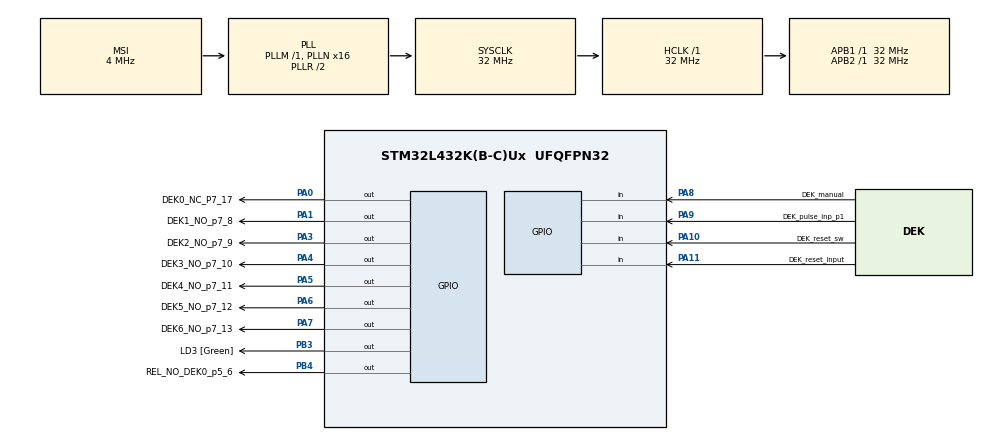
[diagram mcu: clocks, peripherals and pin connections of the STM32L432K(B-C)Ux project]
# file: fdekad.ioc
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FREERTOS.Tasks01=fdekadTask,0,512,StartDefaultTask,Default,NULL,Dynamic,NULL,NULL
FREERTOS.configCHECK_FOR_STACK_OVERFLOW=1
FREERTOS.configTOTAL_HEAP_SIZE=5000
Mcu.Family=STM32L4
Mcu.Name=STM32L432K(B-C)Ux
Mcu.Package=UFQFPN32
NVIC.PriorityGroup=NVIC_PRIORITYGROUP_4
NVIC.TIM6_DAC_IRQn=true\:0\:0\:false\:false\:true\:false\:false\:true
NVIC.TimeBase=TIM6_DAC_IRQn
NVIC.TimeBaseIP=TIM6
PA0.GPIO_Label=DEK0_NC_P7_17
PA0.GPIO_ModeDefaultOutputPP=GPIO_MODE_OUTPUT_PP
PA0.Signal=GPIO_Output
PA1.GPIO_Label=DEK1_NO_p7_8
PA1.GPIO_ModeDefaultOutputPP=GPIO_MODE_OUTPUT_PP
PA1.Signal=GPIO_Output
PA10.GPIO_Label=DEK_reset_sw
PA10.GPIO_PuPd=GPIO_PULLUP
PA10.Signal=GPIO_Input
PA11.GPIO_Label=DEK_reset_input
PA11.Signal=GPIO_Input
PA13\ (JTMS-SWDIO).GPIO_Label=SWDIO
PA13\ (JTMS-SWDIO).Mode=Serial_Wire
PA13\ (JTMS-SWDIO).Signal=SYS_JTMS-SWDIO
PA14\ (JTCK-SWCLK).GPIO_Label=SWCLK
PA14\ (JTCK-SWCLK).Mode=Serial_Wire
PA14\ (JTCK-SWCLK).Signal=SYS_JTCK-SWCLK
PA15\ (JTDI).GPIO_Label=VCP_RX
PA15\ (JTDI).Signal=USART2_RX
PA2.GPIO_Label=VCP_TX
PA2.Signal=USART2_TX
PA3.GPIO_Label=DEK2_NO_p7_9
PA3.GPIO_ModeDefaultOutputPP=GPIO_MODE_OUTPUT_PP
PA3.Signal=GPIO_Output
PA4.GPIO_Label=DEK3_NO_p7_10
PA4.GPIO_ModeDefaultOutputPP=GPIO_MODE_OUTPUT_PP
PA4.Signal=GPIO_Output
PA5.GPIO_Label=DEK4_NO_p7_11
PA5.GPIO_ModeDefaultOutputPP=GPIO_MODE_OUTPUT_PP
PA5.Signal=GPIO_Output
PA6.GPIO_Label=DEK5_NO_p7_12
PA6.GPIO_ModeDefaultOutputPP=GPIO_MODE_OUTPUT_PP
PA6.Signal=GPIO_Output
PA7.GPIO_Label=DEK6_NO_p7_13
PA7.GPIO_ModeDefaultOutputPP=GPIO_MODE_OUTPUT_PP
PA7.Signal=GPIO_Output
PA8.GPIO_Label=DEK_manual
PA8.GPIO_PuPd=GPIO_PULLUP
PA8.Signal=GPIO_Input
PA9.GPIO_Label=DEK_pulse_inp_p1
PA9.GPIO_PuPd=GPIO_PULLUP
PA9.Signal=GPIO_Input
PB3\ (JTDO-TRACESWO).GPIO_Label=LD3 [Green]
PB3\ (JTDO-TRACESWO).Signal=GPIO_Output
PB4\ (NJTRST).GPIO_Label=REL_NO_DEK0_p5_6
PB4\ (NJTRST).Signal=GPIO_Output
PC14-OSC32_IN\ (PC14).Signal=RCC_OSC32_IN
PC15-OSC32_OUT\ (PC15).Signal=RCC_OSC32_OUT
ProjectManager.HeapSize=0x200
ProjectManager.StackSize=0x400
ProjectManager.TargetToolchain=STM32CubeIDE
RCC.AHBFreq_Value=32000000
RCC.APB1Freq_Value=32000000
RCC.APB1TimFreq_Value=32000000
RCC.APB2Freq_Value=32000000
RCC.APB2TimFreq_Value=32000000
RCC.CortexFreq_Value=32000000
RCC.HCLKFreq_Value=32000000
RCC.HSE_VALUE=8000000
RCC.HSI16_VALUE=16000000
RCC.HSI48_VALUE=48000000
RCC.HSI_VALUE=16000000
RCC.LSE_VALUE=32768
RCC.MSI_VALUE=4000000
RCC.PLLMUL=RCC_PLLMUL_4
RCC.PLLN=16
RCC.SYSCLKFreq_VALUE=32000000
RCC.SYSCLKSource=RCC_SYSCLKSOURCE_PLLCLK
RCC.VCOOutputFreq_Value=64000000
VP_FREERTOS_VS_CMSIS_V1.Mode=CMSIS_V1
VP_SYS_VS_tim6.Mode=TIM6
board=NUCLEO-L432KC

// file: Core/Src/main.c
/* USER CODE BEGIN Header */
/**
 ******************************************************************************
 * @file           : main.c
 * @brief          : Main program body
 ******************************************************************************
 * @attention
 *
 * <h2><center>&copy; Copyright (c) 2021 STMicroelectronics.
 * All rights reserved.</center></h2>
 *
 * This software component is licensed by ST under BSD 3-Clause license,
 * the "License"; You may not use this file except in compliance with the
 * License. You may obtain a copy of the License at:
 *                        opensource.org/licenses/BSD-3-Clause
 *
 ******************************************************************************
 */
/* USER CODE END Header */
#include "main.h"
#include "cmsis_os.h"

/* USER CODE BEGIN Includes */
#include "stdbool.h"
/* USER CODE END Includes */

osThreadId fdekadTaskHandle;

void        SystemClock_Config(void);
static void MX_GPIO_Init(void);
void        StartDefaultTask(void const* argument);

int main(void)
{

    /* MCU Configuration--------------------------------------------------------*/

    /* Reset of all peripherals, Initializes the Flash interface and the Systick. */
    HAL_Init();

    /* Configure the system clock */
    SystemClock_Config();

    /* Initialize all configured peripherals */
    MX_GPIO_Init();

    /* Create the thread(s) */
    /* definition and creation of fdekadTask */
    osThreadDef(fdekadTask, StartDefaultTask, osPriorityNormal, 0, 512);
    fdekadTaskHandle = osThreadCreate(osThread(fdekadTask), NULL);

    /* Start scheduler */
    osKernelStart();

    /* We should never get here as control is now taken by the scheduler */
    /* Infinite loop */
    while (1) {

    }
}

void SystemClock_Config(void)
{
    RCC_OscInitTypeDef RCC_OscInitStruct = {0};
    RCC_ClkInitTypeDef RCC_ClkInitStruct = {0};

    /** Initializes the RCC Oscillators according to the specified parameters
     * in the RCC_OscInitTypeDef structure.
     */
    RCC_OscInitStruct.OscillatorType      = RCC_OSCILLATORTYPE_MSI;
    RCC_OscInitStruct.MSIState            = RCC_MSI_ON;
    RCC_OscInitStruct.MSICalibrationValue = 0;
    RCC_OscInitStruct.MSIClockRange       = RCC_MSIRANGE_6;
    RCC_OscInitStruct.PLL.PLLState        = RCC_PLL_ON;
    RCC_OscInitStruct.PLL.PLLSource       = RCC_PLLSOURCE_MSI;
    RCC_OscInitStruct.PLL.PLLM            = 1;
    RCC_OscInitStruct.PLL.PLLN            = 16;
    RCC_OscInitStruct.PLL.PLLP            = RCC_PLLP_DIV7;
    RCC_OscInitStruct.PLL.PLLQ            = RCC_PLLQ_DIV2;
    RCC_OscInitStruct.PLL.PLLR            = RCC_PLLR_DIV2;
    if (HAL_RCC_OscConfig(&RCC_OscInitStruct) != HAL_OK) {
        Error_Handler();
    }
    /** Initializes the CPU, AHB and APB buses clocks
     */
    RCC_ClkInitStruct.ClockType = RCC_CLOCKTYPE_HCLK | RCC_CLOCKTYPE_SYSCLK | RCC_CLOCKTYPE_PCLK1 | RCC_CLOCKTYPE_PCLK2;
    RCC_ClkInitStruct.SYSCLKSource   = RCC_SYSCLKSOURCE_PLLCLK;
    RCC_ClkInitStruct.AHBCLKDivider  = RCC_SYSCLK_DIV1;
    RCC_ClkInitStruct.APB1CLKDivider = RCC_HCLK_DIV1;
    RCC_ClkInitStruct.APB2CLKDivider = RCC_HCLK_DIV1;

    if (HAL_RCC_ClockConfig(&RCC_ClkInitStruct, FLASH_LATENCY_1) != HAL_OK) {
        Error_Handler();
    }
    /** Configure the main internal regulator output voltage
     */
    if (HAL_PWREx_ControlVoltageScaling(PWR_REGULATOR_VOLTAGE_SCALE1) != HAL_OK) {
        Error_Handler();
    }
}

static void MX_GPIO_Init(void)
{
    GPIO_InitTypeDef GPIO_InitStruct = {0};

    /* GPIO Ports Clock Enable */
    __HAL_RCC_GPIOC_CLK_ENABLE();
    __HAL_RCC_GPIOA_CLK_ENABLE();
    __HAL_RCC_GPIOB_CLK_ENABLE();

    /*Configure GPIO pin Output Level */
    HAL_GPIO_WritePin(GPIOA,
                      DEK0_NC_P7_17_Pin | DEK1_NO_p7_8_Pin | DEK2_NO_p7_9_Pin | DEK3_NO_p7_10_Pin | DEK4_NO_p7_11_Pin |
                          DEK5_NO_p7_12_Pin | DEK6_NO_p7_13_Pin,
                      GPIO_PIN_RESET);

    /*Configure GPIO pin Output Level */
    HAL_GPIO_WritePin(GPIOB, LD3_Pin | REL_NO_DEK0_p5_6_Pin, GPIO_PIN_RESET);

    /*Configure GPIO pins : DEK0_NC_P7_17_Pin DEK1_NO_p7_8_Pin DEK2_NO_p7_9_Pin DEK3_NO_p7_10_Pin
                             DEK4_NO_p7_11_Pin DEK5_NO_p7_12_Pin DEK6_NO_p7_13_Pin */
    GPIO_InitStruct.Pin = DEK0_NC_P7_17_Pin | DEK1_NO_p7_8_Pin | DEK2_NO_p7_9_Pin | DEK3_NO_p7_10_Pin |
                          DEK4_NO_p7_11_Pin | DEK5_NO_p7_12_Pin | DEK6_NO_p7_13_Pin;
    GPIO_InitStruct.Mode  = GPIO_MODE_OUTPUT_PP;
    GPIO_InitStruct.Pull  = GPIO_NOPULL;
    GPIO_InitStruct.Speed = GPIO_SPEED_FREQ_LOW;
    HAL_GPIO_Init(GPIOA, &GPIO_InitStruct);

    /*Configure GPIO pin : VCP_TX_Pin */
    GPIO_InitStruct.Pin       = VCP_TX_Pin;
    GPIO_InitStruct.Mode      = GPIO_MODE_AF_PP;
    GPIO_InitStruct.Pull      = GPIO_NOPULL;
    GPIO_InitStruct.Speed     = GPIO_SPEED_FREQ_VERY_HIGH;
    GPIO_InitStruct.Alternate = GPIO_AF7_USART2;
    HAL_GPIO_Init(VCP_TX_GPIO_Port, &GPIO_InitStruct);

    /*Configure GPIO pins : DEK_manual_Pin DEK_pulse_inp_p1_Pin DEK_reset_sw_Pin */
    GPIO_InitStruct.Pin  = DEK_manual_Pin | DEK_pulse_inp_p1_Pin | DEK_reset_sw_Pin;
    GPIO_InitStruct.Mode = GPIO_MODE_INPUT;
    GPIO_InitStruct.Pull = GPIO_PULLUP;
    HAL_GPIO_Init(GPIOA, &GPIO_InitStruct);

    /*Configure GPIO pin : DEK_reset_input_Pin */
    GPIO_InitStruct.Pin  = DEK_reset_input_Pin;
    GPIO_InitStruct.Mode = GPIO_MODE_INPUT;
    GPIO_InitStruct.Pull = GPIO_PULLDOWN;
    HAL_GPIO_Init(DEK_reset_input_GPIO_Port, &GPIO_InitStruct);

    /*Configure GPIO pin : VCP_RX_Pin */
    GPIO_InitStruct.Pin       = VCP_RX_Pin;
    GPIO_InitStruct.Mode      = GPIO_MODE_AF_PP;
    GPIO_InitStruct.Pull      = GPIO_NOPULL;
    GPIO_InitStruct.Speed     = GPIO_SPEED_FREQ_VERY_HIGH;
    GPIO_InitStruct.Alternate = GPIO_AF3_USART2;
    HAL_GPIO_Init(VCP_RX_GPIO_Port, &GPIO_InitStruct);

    /*Configure GPIO pins : LD3_Pin REL_NO_DEK0_p5_6_Pin */
    GPIO_InitStruct.Pin   = LD3_Pin | REL_NO_DEK0_p5_6_Pin;
    GPIO_InitStruct.Mode  = GPIO_MODE_OUTPUT_PP;
    GPIO_InitStruct.Pull  = GPIO_NOPULL;
    GPIO_InitStruct.Speed = GPIO_SPEED_FREQ_LOW;
    HAL_GPIO_Init(GPIOB, &GPIO_InitStruct);
}

/* USER CODE BEGIN 4 */

#define SWITCH_AND_INPUT_PINS (DEK_manual_Pin | DEK_pulse_inp_p1_Pin | DEK_reset_sw_Pin | DEK_reset_input_Pin)

/// Dekade states
typedef enum {
    DEK1,
    DEK2,
    DEK3,
    DEK4,
    DEK5,
    DEK6,
    DEK7,
    DEK8,
    DEK9,
    DEK0,
    DEK_END,
} OutputState_e;

/* USER CODE END 4 */

void StartDefaultTask(void const* argument)
{
    /* USER CODE BEGIN 5 */
// #define SHOW_STATE
#define LED_TOGGLE_TICKS 5000
#define PULSE_HIGH_DEKAD_RESET_TICKS 3000

    TickType_t ticks_toggle = xTaskGetTickCount();

    uint32_t curr_pin_state = SWITCH_AND_INPUT_PINS;
    uint32_t prev_pin_state = SWITCH_AND_INPUT_PINS;
    uint32_t changed_pins   = 0;

    bool manual_pressed    = false;
    bool manual_changed    = false;
    bool pulse_inp_high    = false;
    bool pulse_inp_changed = false;
    bool reset_sw_pressed  = false;
    bool reset_sw_changed  = false;
    bool reset_inp_high    = false;
    bool reset_inp_changed = false;

    OutputState_e output_state = DEK0;
    /* Infinite loop */
    for (;;) {
        TickType_t ticks_now = xTaskGetTickCount();
        TickType_t elapsed   = ticks_now - ticks_toggle; // elapsed: duration

        if (elapsed >= LED_TOGGLE_TICKS) {
            ticks_toggle = ticks_now;
#ifdef SHOW_STATE
            for (uint8_t i = 0; i <= output_state; i++) {
                HAL_GPIO_WritePin(LD3_GPIO_Port, LD3_Pin, GPIO_PIN_SET);
                osDelay(150);
                HAL_GPIO_WritePin(LD3_GPIO_Port, LD3_Pin, GPIO_PIN_RESET);
                osDelay(150);
            }
#else
            //           HAL_GPIO_TogglePin(LD3_GPIO_Port, LD3_Pin);
#endif
        }
        // Reset changed flags
        manual_changed    = false;
        pulse_inp_changed = false;
        reset_sw_changed  = false;
        reset_inp_changed = false;
        // Read and handle input pins
        curr_pin_state = GPIOA->IDR & SWITCH_AND_INPUT_PINS;
        changed_pins   = curr_pin_state ^ prev_pin_state;
        if (changed_pins) {
            // De-bounce
            osDelay(100);
            uint32_t tmp_pin_state = GPIOA->IDR & SWITCH_AND_INPUT_PINS;
            if (curr_pin_state == tmp_pin_state) {
                prev_pin_state = curr_pin_state & SWITCH_AND_INPUT_PINS;
                // some pin has changed!
                if (changed_pins & DEK_manual_Pin) {
                    manual_changed = true;
                    if (curr_pin_state & DEK_manual_Pin) {
                        // low when pressed...
                        manual_pressed = false;
                    } else {
                        manual_pressed = true;
                    }
                }
                if (changed_pins & DEK_pulse_inp_p1_Pin) {
                    pulse_inp_changed = true;
                    if (curr_pin_state & DEK_pulse_inp_p1_Pin) {
                        pulse_inp_high = true;
                    } else {
                        pulse_inp_high = false;
                    }
                }
                if (changed_pins & DEK_reset_sw_Pin) {
                    reset_sw_changed = true;
                    if (curr_pin_state & DEK_reset_sw_Pin) {
                        // low when pressed...
                        reset_sw_pressed = false;
                    } else {
                        reset_sw_pressed = true;
                    }
                }
                if (changed_pins & DEK_reset_input_Pin) {
                    reset_inp_changed = true;
                    if (curr_pin_state & DEK_reset_input_Pin) {
                        reset_inp_high = true;
                    } else {
                        reset_inp_high = false;
                    }
                }
            }
        }
        if (reset_inp_high) {
            (void) reset_inp_changed;
            // reset dekad
            if (output_state != DEK0) {
#warning check if we can set state DEK0 directly
                // Not at DEK0, next state
                output_state += 1;
            }
            osDelay(30);
        } else {
            // Check for positive flank on pulse input...
            if (pulse_inp_changed && pulse_inp_high) {
                // Show the change
                HAL_GPIO_WritePin(LD3_GPIO_Port, LD3_Pin, GPIO_PIN_SET);
                // HAL_GPIO_TogglePin(LD3_GPIO_Port, LD3_Pin);
            }
            // Check if impulse has been held/pressed
            if (!pulse_inp_changed && pulse_inp_high) {
                // nothing here
            }
            // Check for negative flank on pulse input...
            if (pulse_inp_changed && !pulse_inp_high) {
                // Next state
                output_state += 1;
                // nothing here
                HAL_GPIO_WritePin(LD3_GPIO_Port, LD3_Pin, GPIO_PIN_RESET);
            }
        }
        // Check for positive flank on pulse and manual inputs...
        if (manual_changed && manual_pressed) {
            // Next state
            output_state += 1;
            // Show the change
            HAL_GPIO_WritePin(LD3_GPIO_Port, LD3_Pin, GPIO_PIN_SET);
            // HAL_GPIO_TogglePin(LD3_GPIO_Port, LD3_Pin);
        }
        // Check if impulse or manual has been held/pressed
        if (!manual_changed && manual_pressed) {
            // nothing here
        }
        // Check for negative flank on pulse and manual inputs...
        if (manual_changed && !manual_pressed) {
            // nothing here
            HAL_GPIO_WritePin(LD3_GPIO_Port, LD3_Pin, GPIO_PIN_RESET);
        }

        // Check for positive flank on manual input...
        if (reset_sw_changed && reset_sw_pressed) {
            // close REL_NC_p5_6_Pin
            output_state = DEK0;
        }

        // Check for output state overflow
        if (output_state >= DEK_END) {
            output_state = DEK1;
        }

        switch (output_state) {
        case DEK1:
            HAL_GPIO_WritePin(REL_NO_DEK0_p5_6_GPIO_Port, REL_NO_DEK0_p5_6_Pin, GPIO_PIN_SET);
            HAL_GPIO_WritePin(DEK0_NC_P7_17_GPIO_Port,
                              DEK2_NO_p7_9_Pin | DEK3_NO_p7_10_Pin | DEK4_NO_p7_11_Pin | DEK5_NO_p7_12_Pin |
                                  DEK6_NO_p7_13_Pin,
                              GPIO_PIN_RESET);
            HAL_GPIO_WritePin(DEK0_NC_P7_17_GPIO_Port, DEK0_NC_P7_17_Pin, GPIO_PIN_SET);
            osDelay(10);
            HAL_GPIO_WritePin(DEK0_NC_P7_17_GPIO_Port, DEK1_NO_p7_8_Pin, GPIO_PIN_SET);
            break;
        case DEK2:
            HAL_GPIO_WritePin(REL_NO_DEK0_p5_6_GPIO_Port, REL_NO_DEK0_p5_6_Pin, GPIO_PIN_SET);
            HAL_GPIO_WritePin(DEK0_NC_P7_17_GPIO_Port,
                              DEK1_NO_p7_8_Pin | DEK3_NO_p7_10_Pin | DEK4_NO_p7_11_Pin | DEK5_NO_p7_12_Pin |
                                  DEK6_NO_p7_13_Pin,
                              GPIO_PIN_RESET);
            HAL_GPIO_WritePin(DEK0_NC_P7_17_GPIO_Port, DEK0_NC_P7_17_Pin, GPIO_PIN_SET);
            osDelay(10);
            HAL_GPIO_WritePin(DEK0_NC_P7_17_GPIO_Port, DEK2_NO_p7_9_Pin, GPIO_PIN_SET);
            break;
        case DEK3:
            HAL_GPIO_WritePin(REL_NO_DEK0_p5_6_GPIO_Port, REL_NO_DEK0_p5_6_Pin, GPIO_PIN_SET);
            HAL_GPIO_WritePin(DEK0_NC_P7_17_GPIO_Port,
                              DEK1_NO_p7_8_Pin | DEK2_NO_p7_9_Pin | DEK4_NO_p7_11_Pin | DEK5_NO_p7_12_Pin |
                                  DEK6_NO_p7_13_Pin,
                              GPIO_PIN_RESET);
            HAL_GPIO_WritePin(DEK0_NC_P7_17_GPIO_Port, DEK0_NC_P7_17_Pin, GPIO_PIN_SET);
            osDelay(10);
            HAL_GPIO_WritePin(DEK0_NC_P7_17_GPIO_Port, DEK3_NO_p7_10_Pin, GPIO_PIN_SET);
            break;
        case DEK4:
            HAL_GPIO_WritePin(REL_NO_DEK0_p5_6_GPIO_Port, REL_NO_DEK0_p5_6_Pin, GPIO_PIN_SET);
            HAL_GPIO_WritePin(DEK0_NC_P7_17_GPIO_Port,
                              DEK1_NO_p7_8_Pin | DEK2_NO_p7_9_Pin | DEK3_NO_p7_10_Pin | DEK5_NO_p7_12_Pin |
                                  DEK6_NO_p7_13_Pin,
                              GPIO_PIN_RESET);
            HAL_GPIO_WritePin(DEK0_NC_P7_17_GPIO_Port, DEK0_NC_P7_17_Pin, GPIO_PIN_SET);
            osDelay(10);
            HAL_GPIO_WritePin(DEK0_NC_P7_17_GPIO_Port, DEK4_NO_p7_11_Pin, GPIO_PIN_SET);
            break;
        case DEK5:
            HAL_GPIO_WritePin(REL_NO_DEK0_p5_6_GPIO_Port, REL_NO_DEK0_p5_6_Pin, GPIO_PIN_SET);
            HAL_GPIO_WritePin(DEK0_NC_P7_17_GPIO_Port,
                              DEK1_NO_p7_8_Pin | DEK2_NO_p7_9_Pin | DEK3_NO_p7_10_Pin | DEK4_NO_p7_11_Pin |
                                  DEK6_NO_p7_13_Pin,
                              GPIO_PIN_RESET);
            HAL_GPIO_WritePin(DEK0_NC_P7_17_GPIO_Port, DEK0_NC_P7_17_Pin, GPIO_PIN_SET);
            osDelay(10);
            HAL_GPIO_WritePin(DEK0_NC_P7_17_GPIO_Port, DEK5_NO_p7_12_Pin, GPIO_PIN_SET);
            break;
        case DEK6:
            HAL_GPIO_WritePin(REL_NO_DEK0_p5_6_GPIO_Port, REL_NO_DEK0_p5_6_Pin, GPIO_PIN_SET);
            HAL_GPIO_WritePin(DEK0_NC_P7_17_GPIO_Port,
                              DEK1_NO_p7_8_Pin | DEK2_NO_p7_9_Pin | DEK3_NO_p7_10_Pin | DEK4_NO_p7_11_Pin |
                                  DEK5_NO_p7_12_Pin,
                              GPIO_PIN_RESET);
            HAL_GPIO_WritePin(DEK0_NC_P7_17_GPIO_Port, DEK0_NC_P7_17_Pin, GPIO_PIN_SET);
            osDelay(10);
            HAL_GPIO_WritePin(DEK0_NC_P7_17_GPIO_Port, DEK6_NO_p7_13_Pin, GPIO_PIN_SET);
            break;
        case DEK7:
            // Intentional fallthrough
        case DEK8:
            // Intentional fallthrough
        case DEK9:
            HAL_GPIO_WritePin(REL_NO_DEK0_p5_6_GPIO_Port, REL_NO_DEK0_p5_6_Pin, GPIO_PIN_SET);
            HAL_GPIO_WritePin(DEK0_NC_P7_17_GPIO_Port,
                              DEK1_NO_p7_8_Pin | DEK2_NO_p7_9_Pin | DEK3_NO_p7_10_Pin | DEK4_NO_p7_11_Pin |
                                  DEK5_NO_p7_12_Pin | DEK6_NO_p7_13_Pin,
                              GPIO_PIN_RESET);
            HAL_GPIO_WritePin(DEK0_NC_P7_17_GPIO_Port, DEK0_NC_P7_17_Pin, GPIO_PIN_SET);
            osDelay(10);
            break;
        case DEK0:
            // Intentional fallthrough
        default:
            HAL_GPIO_WritePin(REL_NO_DEK0_p5_6_GPIO_Port, REL_NO_DEK0_p5_6_Pin, GPIO_PIN_RESET);
            HAL_GPIO_WritePin(DEK0_NC_P7_17_GPIO_Port,
                              DEK0_NC_P7_17_Pin | DEK1_NO_p7_8_Pin | DEK2_NO_p7_9_Pin | DEK3_NO_p7_10_Pin |
                                  DEK4_NO_p7_11_Pin | DEK5_NO_p7_12_Pin | DEK6_NO_p7_13_Pin,
                              GPIO_PIN_RESET);
            osDelay(10);
            break;
        }
        osDelay(10);
    }
    /* USER CODE END 5 */
}

void HAL_TIM_PeriodElapsedCallback(TIM_HandleTypeDef* htim)
{
    if (htim->Instance == TIM6) {
        HAL_IncTick();
    }
}

void Error_Handler(void)
{
    __disable_irq();
    while (1) {}
}

/************************ (C) COPYRIGHT STMicroelectronics *****END OF FILE****/

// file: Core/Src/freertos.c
/* USER CODE BEGIN Header */
/**
  ******************************************************************************
  * File Name          : freertos.c
  * Description        : Code for freertos applications
  ******************************************************************************
  * @attention
  *
  * <h2><center>&copy; Copyright (c) 2021 STMicroelectronics.
  * All rights reserved.</center></h2>
  *
  * This software component is licensed by ST under Ultimate Liberty license
  * SLA0044, the "License"; You may not use this file except in compliance with
  * the License. You may obtain a copy of the License at:
  *                             www.st.com/SLA0044
  *
  ******************************************************************************
  */
/* USER CODE END Header */

#include "FreeRTOS.h"
#include "task.h"
#include "main.h"

/* GetIdleTaskMemory prototype (linked to static allocation support) */
void vApplicationGetIdleTaskMemory( StaticTask_t **ppxIdleTaskTCBBuffer, StackType_t **ppxIdleTaskStackBuffer, uint32_t *pulIdleTaskStackSize );

/* Hook prototypes */
void vApplicationStackOverflowHook(xTaskHandle xTask, signed char *pcTaskName);

/* USER CODE BEGIN 4 */
__weak void vApplicationStackOverflowHook(xTaskHandle xTask, signed char *pcTaskName)
{
   /* Run time stack overflow checking is performed if
   configCHECK_FOR_STACK_OVERFLOW is defined to 1 or 2. This hook function is
   called if a stack overflow is detected. */
}
/* USER CODE END 4 */

/* USER CODE BEGIN GET_IDLE_TASK_MEMORY */
static StaticTask_t xIdleTaskTCBBuffer;
static StackType_t xIdleStack[configMINIMAL_STACK_SIZE];

void vApplicationGetIdleTaskMemory( StaticTask_t **ppxIdleTaskTCBBuffer, StackType_t **ppxIdleTaskStackBuffer, uint32_t *pulIdleTaskStackSize )
{
  *ppxIdleTaskTCBBuffer = &xIdleTaskTCBBuffer;
  *ppxIdleTaskStackBuffer = &xIdleStack[0];
  *pulIdleTaskStackSize = configMINIMAL_STACK_SIZE;
  /* place for user code */
}
/* USER CODE END GET_IDLE_TASK_MEMORY */

/************************ (C) COPYRIGHT STMicroelectronics *****END OF FILE****/
